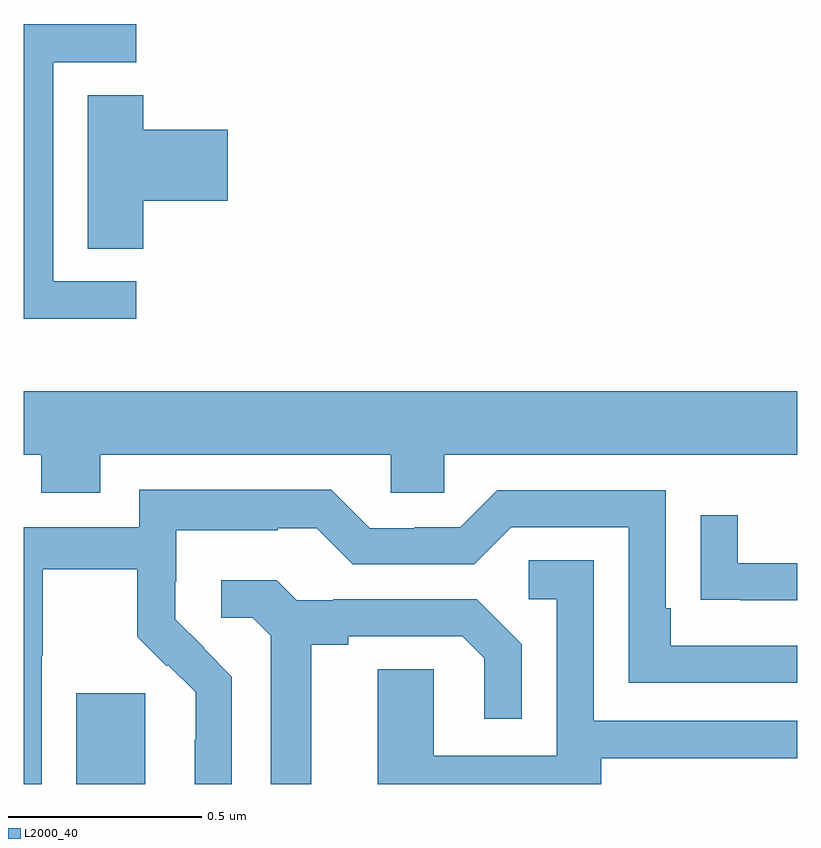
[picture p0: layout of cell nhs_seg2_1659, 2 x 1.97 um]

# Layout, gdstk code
import gdstk
lib = gdstk.Library(unit=1e-6, precision=1e-09)
def R(c, l, rs):  # rectangles x0, y0, x1, y1
    for r in rs: c.add(gdstk.rectangle(r[:2], r[2:], *l))
def P(c, l, *ps):  # polygons
    for p in ps: c.add(gdstk.Polygon(p, *l))
L2000_40 = (2000, 40)

nhs_seg2_1659 = lib.new_cell('nhs_seg2_1659')
R(nhs_seg2_1659, L2000_40, [(131.135,630.8,131.314,631.035)])
P(nhs_seg2_1659, L2000_40, [(131.29,632.1),(131.076,632.1),(131.076,632.667),(131.29,632.667),(131.29,632.766),(131,632.766),(131,632.004),(131.29,632.004)],
  [(131.309,632.309),(131.527,632.309),(131.527,632.492),(131.309,632.492),(131.309,632.582),(131.165,632.582),(131.165,632.185),(131.309,632.185)],
  [(131.197,631.652),(131.949,631.652),(131.949,631.554),(132.087,631.554),(132.087,631.652),(133,631.652),(133,631.816),(131,631.816),(131,631.652),(131.045,631.652),(131.045,631.553),(131.197,631.553)],
  [(131.046,631.132),(131.049,631.132),(131.049,631.356),(131.293,631.356),(131.293,631.181),(131.37,631.104),(131.373,631.107),(131.444,631.037),(131.444,630.914),(131.442,630.914),(131.442,630.8),(131.538,630.8),(131.538,631.078),(131.465,631.151),(131.466,631.152),(131.392,631.226),(131.392,631.323),(131.394,631.323),(131.394,631.457),(131.657,631.457),(131.657,631.461),(131.757,631.461),(131.85,631.368),(132.165,631.368),(132.261,631.464),(132.564,631.464),(132.564,631.062),(133,631.062),(133,631.158),(132.673,631.158),(132.673,631.255),(132.66,631.255),(132.66,631.56),(132.225,631.56),(132.129,631.464),(132.011,631.464),(132.011,631.461),(131.895,631.461),(131.795,631.561),(131.298,631.561),(131.298,631.464),(131,631.464),(131,630.8),(131.046,630.8)],
  [(133,631.371),(132.847,631.371),(132.847,631.495),(132.751,631.495),(132.751,631.276),(132.853,631.276),(132.853,631.275),(133,631.275)],
  [(132.493,630.867),(133,630.867),(133,630.963),(132.474,630.963),(132.474,631.379),(132.306,631.379),(132.306,631.278),(132.378,631.278),(132.378,630.873),(132.06,630.873),(132.06,631.097),(131.915,631.097),(131.915,630.8),(132.493,630.8)],
  [(131.743,631.16),(131.839,631.16),(131.839,631.182),(132.134,631.182),(132.191,631.125),(132.191,630.969),(132.288,630.969),(132.288,631.162),(132.172,631.278),(131.8,631.278),(131.8,631.275),(131.706,631.275),(131.654,631.327),(131.511,631.327),(131.511,631.23),(131.592,631.23),(131.639,631.183),(131.639,630.8),(131.743,630.8)])

lib.write_gds('nhs_seg2_1659.gds')
